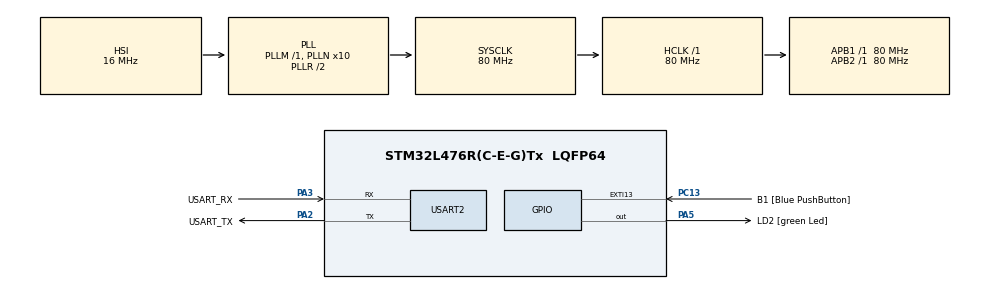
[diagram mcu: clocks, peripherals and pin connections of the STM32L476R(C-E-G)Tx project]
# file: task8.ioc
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Mcu.Family=STM32L4
Mcu.Name=STM32L476R(C-E-G)Tx
Mcu.Package=LQFP64
NVIC.EXTI15_10_IRQn=true\:0\:0\:false\:false\:true\:true\:true\:true
NVIC.PriorityGroup=NVIC_PRIORITYGROUP_4
NVIC.TIM6_DAC_IRQn=true\:0\:0\:false\:false\:true\:true\:true\:true
PA13\ (JTMS-SWDIO).GPIO_Label=TMS
PA13\ (JTMS-SWDIO).Mode=Serial_Wire
PA13\ (JTMS-SWDIO).Signal=SYS_JTMS-SWDIO
PA14\ (JTCK-SWCLK).GPIO_Label=TCK
PA14\ (JTCK-SWCLK).Mode=Serial_Wire
PA14\ (JTCK-SWCLK).Signal=SYS_JTCK-SWCLK
PA2.GPIO_Label=USART_TX
PA2.GPIO_Mode=GPIO_MODE_AF_PP
PA2.GPIO_PuPd=GPIO_NOPULL
PA2.GPIO_Speed=GPIO_SPEED_FREQ_VERY_HIGH
PA2.Mode=Asynchronous
PA2.Signal=USART2_TX
PA3.GPIO_Label=USART_RX
PA3.GPIO_Mode=GPIO_MODE_AF_PP
PA3.GPIO_PuPd=GPIO_NOPULL
PA3.GPIO_Speed=GPIO_SPEED_FREQ_VERY_HIGH
PA3.Mode=Asynchronous
PA3.Signal=USART2_RX
PA5.GPIO_Label=LD2 [green Led]
PA5.GPIO_ModeDefaultOutputPP=GPIO_MODE_OUTPUT_PP
PA5.GPIO_PuPd=GPIO_NOPULL
PA5.GPIO_Speed=GPIO_SPEED_FREQ_LOW
PA5.Signal=GPIO_Output
PB3\ (JTDO-TRACESWO).GPIO_Label=SWO
PB3\ (JTDO-TRACESWO).Signal=SYS_JTDO-SWO
PC13.GPIO_Label=B1 [Blue PushButton]
PC13.GPIO_ModeDefaultEXTI=GPIO_MODE_IT_FALLING
PC13.GPIO_PuPd=GPIO_NOPULL
PC13.Signal=GPXTI13
PC14-OSC32_IN\ (PC14).Mode=LSE-External-Oscillator
PC14-OSC32_IN\ (PC14).Signal=RCC_OSC32_IN
PC15-OSC32_OUT\ (PC15).Mode=LSE-External-Oscillator
PC15-OSC32_OUT\ (PC15).Signal=RCC_OSC32_OUT
PH0-OSC_IN\ (PH0).Signal=RCC_OSC_IN
PH1-OSC_OUT\ (PH1).Signal=RCC_OSC_OUT
ProjectManager.HeapSize=0x200
ProjectManager.StackSize=0x400
ProjectManager.TargetToolchain=STM32CubeIDE
RCC.ADCFreq_Value=64000000
RCC.AHBFreq_Value=80000000
RCC.APB1Freq_Value=80000000
RCC.APB1TimFreq_Value=80000000
RCC.APB2Freq_Value=80000000
RCC.APB2TimFreq_Value=80000000
RCC.CortexFreq_Value=80000000
RCC.HCLKFreq_Value=80000000
RCC.HSE_VALUE=8000000
RCC.HSI_VALUE=16000000
RCC.MSI_VALUE=4000000
RCC.PLLN=10
RCC.PLLSourceVirtual=RCC_PLLSOURCE_HSI
RCC.PREFETCH_ENABLE=1
RCC.SYSCLKFreq_VALUE=80000000
RCC.SYSCLKSource=RCC_SYSCLKSOURCE_PLLCLK
RCC.USBFreq_Value=64000000
RCC.VCOOutputFreq_Value=160000000
TIM6.Period=4999
TIM6.Prescaler=7999
USART2.VirtualMode-Asynchronous=VM_ASYNC
VP_TIM6_VS_ClockSourceINT.Mode=Enable_Timer
board=NUCLEO-L476RG

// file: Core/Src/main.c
/* USER CODE BEGIN Header */
/**
  ******************************************************************************
  * @file           : main.c
  * @brief          : Main program body
  ******************************************************************************
  * @attention
  *
  * Copyright (c) 2022 STMicroelectronics.
  * All rights reserved.
  *
  * This software is licensed under terms that can be found in the LICENSE file
  * in the root directory of this software component.
  * If no LICENSE file comes with this software, it is provided AS-IS.
  *
  ******************************************************************************
  */
/* USER CODE END Header */
#include "main.h"

/* USER CODE BEGIN Includes */
#include <stdio.h>
#include <string.h>

/* USER CODE END Includes */

 TIM_HandleTypeDef htim6;

UART_HandleTypeDef huart2;

void SystemClock_Config(void);
static void MX_GPIO_Init(void);
static void MX_USART2_UART_Init(void);
static void MX_TIM6_Init(void);

/* USER CODE BEGIN 0 */

/////////////////////////////////////////////////////////////////////////
// REdirecting printf to UART
/////////////////////////////////////////////////////////////////////////
int _write(int fd, char* ptr, int len) {
    HAL_UART_Transmit(&huart2, (uint8_t *) ptr, len, HAL_MAX_DELAY);
    return len;
}

void BtnCounter(){
	static int counter = 0;
	if(HAL_GPIO_ReadPin(B1_GPIO_Port, B1_Pin)==0){
		printf("counter=%d\n\r",counter);
		counter++;
	}

}

void HAL_TIM_PeriodElapsedCallback(TIM_HandleTypeDef * htim){
	 HAL_GPIO_TogglePin(LD2_GPIO_Port, LD2_Pin);
	//ledCount++;
}

void ledTask()
{

   HAL_GPIO_TogglePin(LD2_GPIO_Port, LD2_Pin);

}

void ledStart(int maxCount)
{
 //ledState = LedOn;
// ledMaxCount = maxCount;
 HAL_TIM_Base_Start_IT(&htim6);
 __HAL_TIM_SET_COUNTER(&htim6,0);
 __HAL_TIM_SET_AUTORELOAD(&htim6, maxCount*10);
}

void ledStop()
{
 //ledState = LedOff;
 HAL_TIM_Base_Stop_IT(&htim6);
 HAL_GPIO_WritePin(LD2_GPIO_Port, LD2_Pin, 0);
}

/////////////////////////////////////////////////////////////////////////
// Communication task definitions and functions
/////////////////////////////////////////////////////////////////////////

#define MAX_BUFFER_LENGTH 100

uint8_t cmdbuffer[MAX_BUFFER_LENGTH];
int cmdcount = 0;

int commTask()
{
 uint8_t ch;

 HAL_StatusTypeDef Status = HAL_UART_Receive(&huart2, &ch, 1, 0);
 if (Status != HAL_OK) {
  return 0;
 }

 if (ch != '\r' && ch != '\n')
 {
  HAL_UART_Transmit(&huart2, &ch, 1, 0xFFFF);

  if (cmdcount >= MAX_BUFFER_LENGTH)
  {
   cmdcount = 0;
  }

  cmdbuffer[cmdcount++] = ch;
  return 0;
 }

 HAL_UART_Transmit(&huart2, (uint8_t*)"\r\n", 2, 0xFFFF);

 cmdbuffer[cmdcount] = 0;
 cmdcount = 0;
 return 1;
}

/////////////////////////////////////////////////////////////////////////
// REdirecting printf to UART
/////////////////////////////////////////////////////////////////////////
/*int _write(int fd, char* ptr, int len) {
    HAL_UART_Transmit(&huart2, (uint8_t *) ptr, len, HAL_MAX_DELAY);
    return len;
}*/

void handleCommand()
{
  char cmd[20];
  int maxCount;

  int params = sscanf((const char*)cmdbuffer, "%s %d", cmd, &maxCount);

  if (params == 0)
  {
   return;
  }

  if (strcmp(cmd, "start") == 0)
  {
   ledStart(maxCount);
  }
  else if (strcmp(cmd, "stop") == 0)
  {
   ledStop();
  }
  else
  {
   printf("Invalid command\r\n");
  }
}

/* USER CODE END 0 */

int main(void)
{

  /* MCU Configuration--------------------------------------------------------*/

  /* Reset of all peripherals, Initializes the Flash interface and the Systick. */
  HAL_Init();

  /* Configure the system clock */
  SystemClock_Config();

  /* Initialize all configured peripherals */
  MX_GPIO_Init();
  MX_USART2_UART_Init();
  MX_TIM6_Init();
  /* USER CODE BEGIN 2 */
  HAL_NVIC_EnableIRQ(TIM6_IRQn);

  /* USER CODE END 2 */

  /* Infinite loop */
  while (1)
  {

    /* USER CODE BEGIN 3 */
	  //BtnCounter();

	  	   if (commTask())
	  	   {
	  	    handleCommand();
	  	   }

  }
  /* USER CODE END 3 */
}

void SystemClock_Config(void)
{
  RCC_OscInitTypeDef RCC_OscInitStruct = {0};
  RCC_ClkInitTypeDef RCC_ClkInitStruct = {0};

  /** Configure the main internal regulator output voltage
  */
  if (HAL_PWREx_ControlVoltageScaling(PWR_REGULATOR_VOLTAGE_SCALE1) != HAL_OK)
  {
    Error_Handler();
  }

  /** Initializes the RCC Oscillators according to the specified parameters
  * in the RCC_OscInitTypeDef structure.
  */
  RCC_OscInitStruct.OscillatorType = RCC_OSCILLATORTYPE_HSI;
  RCC_OscInitStruct.HSIState = RCC_HSI_ON;
  RCC_OscInitStruct.HSICalibrationValue = RCC_HSICALIBRATION_DEFAULT;
  RCC_OscInitStruct.PLL.PLLState = RCC_PLL_ON;
  RCC_OscInitStruct.PLL.PLLSource = RCC_PLLSOURCE_HSI;
  RCC_OscInitStruct.PLL.PLLM = 1;
  RCC_OscInitStruct.PLL.PLLN = 10;
  RCC_OscInitStruct.PLL.PLLP = RCC_PLLP_DIV7;
  RCC_OscInitStruct.PLL.PLLQ = RCC_PLLQ_DIV2;
  RCC_OscInitStruct.PLL.PLLR = RCC_PLLR_DIV2;
  if (HAL_RCC_OscConfig(&RCC_OscInitStruct) != HAL_OK)
  {
    Error_Handler();
  }

  /** Initializes the CPU, AHB and APB buses clocks
  */
  RCC_ClkInitStruct.ClockType = RCC_CLOCKTYPE_HCLK|RCC_CLOCKTYPE_SYSCLK
                              |RCC_CLOCKTYPE_PCLK1|RCC_CLOCKTYPE_PCLK2;
  RCC_ClkInitStruct.SYSCLKSource = RCC_SYSCLKSOURCE_PLLCLK;
  RCC_ClkInitStruct.AHBCLKDivider = RCC_SYSCLK_DIV1;
  RCC_ClkInitStruct.APB1CLKDivider = RCC_HCLK_DIV1;
  RCC_ClkInitStruct.APB2CLKDivider = RCC_HCLK_DIV1;

  if (HAL_RCC_ClockConfig(&RCC_ClkInitStruct, FLASH_LATENCY_4) != HAL_OK)
  {
    Error_Handler();
  }
}

static void MX_TIM6_Init(void)
{

  TIM_MasterConfigTypeDef sMasterConfig = {0};

  htim6.Instance = TIM6;
  htim6.Init.Prescaler = 7999;
  htim6.Init.CounterMode = TIM_COUNTERMODE_UP;
  htim6.Init.Period = 4999;
  htim6.Init.AutoReloadPreload = TIM_AUTORELOAD_PRELOAD_DISABLE;
  if (HAL_TIM_Base_Init(&htim6) != HAL_OK)
  {
    Error_Handler();
  }
  sMasterConfig.MasterOutputTrigger = TIM_TRGO_RESET;
  sMasterConfig.MasterSlaveMode = TIM_MASTERSLAVEMODE_DISABLE;
  if (HAL_TIMEx_MasterConfigSynchronization(&htim6, &sMasterConfig) != HAL_OK)
  {
    Error_Handler();
  }

}

static void MX_USART2_UART_Init(void)
{

  huart2.Instance = USART2;
  huart2.Init.BaudRate = 115200;
  huart2.Init.WordLength = UART_WORDLENGTH_8B;
  huart2.Init.StopBits = UART_STOPBITS_1;
  huart2.Init.Parity = UART_PARITY_NONE;
  huart2.Init.Mode = UART_MODE_TX_RX;
  huart2.Init.HwFlowCtl = UART_HWCONTROL_NONE;
  huart2.Init.OverSampling = UART_OVERSAMPLING_16;
  huart2.Init.OneBitSampling = UART_ONE_BIT_SAMPLE_DISABLE;
  huart2.AdvancedInit.AdvFeatureInit = UART_ADVFEATURE_NO_INIT;
  if (HAL_UART_Init(&huart2) != HAL_OK)
  {
    Error_Handler();
  }

}

static void MX_GPIO_Init(void)
{
  GPIO_InitTypeDef GPIO_InitStruct = {0};

  /* GPIO Ports Clock Enable */
  __HAL_RCC_GPIOC_CLK_ENABLE();
  __HAL_RCC_GPIOH_CLK_ENABLE();
  __HAL_RCC_GPIOA_CLK_ENABLE();
  __HAL_RCC_GPIOB_CLK_ENABLE();

  /*Configure GPIO pin Output Level */
  HAL_GPIO_WritePin(LD2_GPIO_Port, LD2_Pin, GPIO_PIN_RESET);

  /*Configure GPIO pin : B1_Pin */
  GPIO_InitStruct.Pin = B1_Pin;
  GPIO_InitStruct.Mode = GPIO_MODE_IT_FALLING;
  GPIO_InitStruct.Pull = GPIO_NOPULL;
  HAL_GPIO_Init(B1_GPIO_Port, &GPIO_InitStruct);

  /*Configure GPIO pin : LD2_Pin */
  GPIO_InitStruct.Pin = LD2_Pin;
  GPIO_InitStruct.Mode = GPIO_MODE_OUTPUT_PP;
  GPIO_InitStruct.Pull = GPIO_NOPULL;
  GPIO_InitStruct.Speed = GPIO_SPEED_FREQ_LOW;
  HAL_GPIO_Init(LD2_GPIO_Port, &GPIO_InitStruct);

  /* EXTI interrupt init*/
  HAL_NVIC_SetPriority(EXTI15_10_IRQn, 0, 0);
  HAL_NVIC_EnableIRQ(EXTI15_10_IRQn);

}

void Error_Handler(void)
{
  __disable_irq();
  while (1)
  {
  }
}
